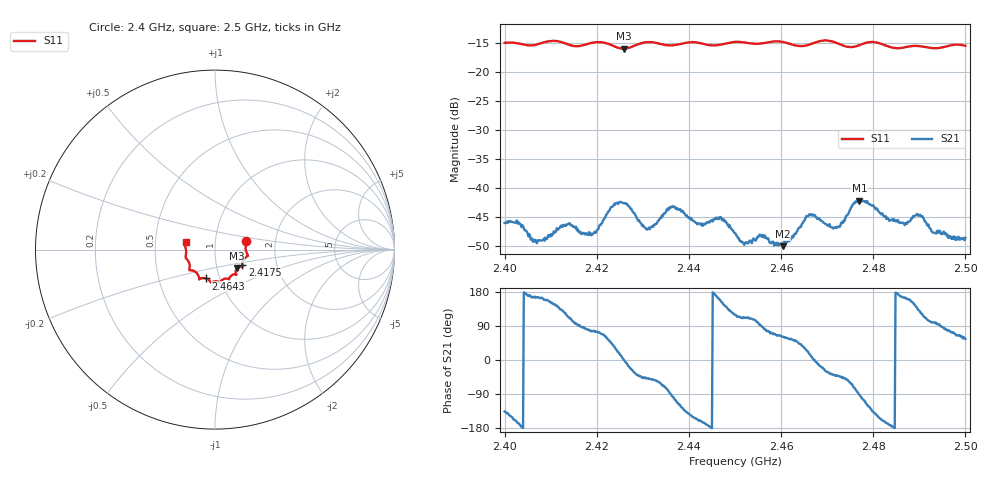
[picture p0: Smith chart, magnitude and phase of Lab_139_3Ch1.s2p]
# Hz S RI R 50
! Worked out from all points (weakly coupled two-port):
!   601 points, 2.4 GHz to 2.5 GHz, reference 50 ohm
!   highest |S21| = -42.19 dB at 2.477 GHz (marker M1); lowest = -50.1 dB at 2.4603 GHz (marker M2)
!   lowest |S11| = -15.9 dB at 2.4258 GHz (marker M3), VSWR 1.38, Z = 62.3 - j13.2 ohm
!   |S11| at or under -10 dB: start of sweep to end of sweep
!   S12 and S22 are empty: the file has one direction only
!   S11 on the Smith chart (normalised r, x): 2.4 GHz: 1.41, +0.14; 2.4175 GHz: 1.34, -0.23; 2.4643 GHz: 0.86, -0.29; 2.5 GHz: 0.72, +0.06
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2.4e9  0.1729 0.0485  -0.00357 -0.00348  0 0  0 0
2.403e9  0.1743 0.0345  -0.00494 -0.00111  0 0  0 0
2.406667e9  0.1722 -0.0063  -0.0033 0.000937  0 0  0 0
2.413667e9  0.169 -0.0449  -0.00206 0.00438  0 0  0 0
2.416667e9  0.1526 -0.0742  0.000235 0.00398  0 0  0 0
2.4175e9  0.1519 -0.0836  0.000524 0.00393  0 0  0 0
2.425833e9  0.1217 -0.1036  0.00741 0.000117  0 0  0 0
2.430667e9  0.1185 -0.1383  0.00305 -0.00326  0 0  0 0
2.433333e9  0.1127 -0.1372  0.00282 -0.00439  0 0  0 0
2.4365e9  0.0905 -0.1453  -0.000917 -0.0069  0 0  0 0
2.442167e9  0.0737 -0.1639  -0.00464 -0.00166  0 0  0 0
2.447167e9  0.0392 -0.1697  -0.00467 0.00245  0 0  0 0
2.45e9  0.0288 -0.1808  -0.00201 0.00354  0 0  0 0
2.460333e9  -0.0249 -0.1813  0.00149 0.00276  0 0  0 0
2.464333e9  -0.0499 -0.1608  0.00347 0.00306  0 0  0 0
2.466667e9  -0.0761 -0.1594  0.00572 0.000857  0 0  0 0
2.472333e9  -0.0892 -0.1536  0.00349 -0.00306  0 0  0 0
2.477e9  -0.1265 -0.1161  -0.000345 -0.00776  0 0  0 0
2.483333e9  -0.1407 -0.09  -0.00532 -0.000939  0 0  0 0
2.489833e9  -0.1635 -0.0416  -0.00384 0.00427  0 0  0 0
2.493167e9  -0.1609 -0.0121  -0.000629 0.00405  0 0  0 0
2.5e9  -0.164 0.0427  0.0021 0.00306  0 0  0 0
